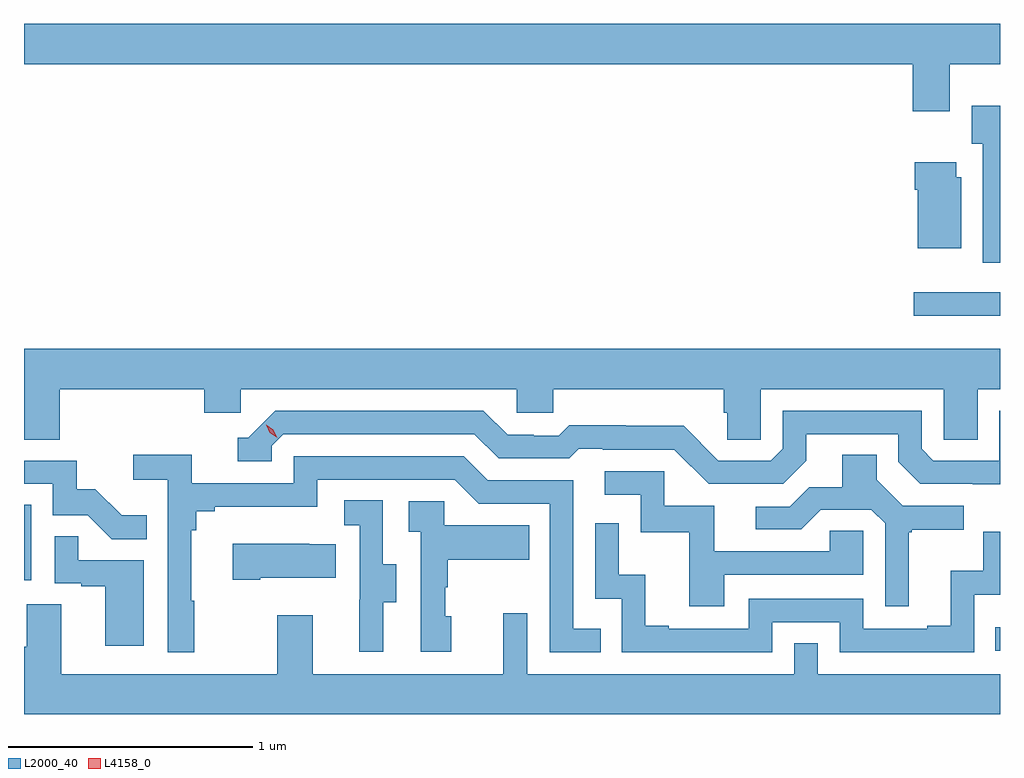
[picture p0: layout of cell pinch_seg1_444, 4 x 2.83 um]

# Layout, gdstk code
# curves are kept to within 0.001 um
import gdstk
lib = gdstk.Library(unit=1e-6, precision=1e-09)
def R(c, l, rs):  # rectangles x0, y0, x1, y1
    for r in rs: c.add(gdstk.rectangle(r[:2], r[2:], *l))
def P(c, l, *ps):  # polygons
    for p in ps: c.add(gdstk.Polygon(p, *l))
L2000_40 = (2000, 40)
L4158_0 = (4158, 0)

pinch_seg1_444 = lib.new_cell('pinch_seg1_444')
R(pinch_seg1_444, L2000_40, [(1013.701,521.355,1013.721,521.452), (1009.721,521.645,1009.75,521.953), (1013.367,522.728,1013.721,522.825)])
P(pinch_seg1_444, L2000_40, [(1013.515,523.76),(1013.721,523.76),(1013.721,523.924),(1009.721,523.924),(1009.721,523.76),(1013.363,523.76),(1013.363,523.566),(1013.515,523.566)],
  [(1013.721,523.588),(1013.606,523.588),(1013.606,523.434),(1013.651,523.434),(1013.651,522.945),(1013.721,522.945)],
  [(1013.563,523.296),(1013.542,523.296),(1013.542,523.357),(1013.372,523.357),(1013.372,523.244),(1013.384,523.244),(1013.384,523.004),(1013.563,523.004)],
  [(1009.868,522.428),(1010.459,522.428),(1010.459,522.33),(1010.61,522.33),(1010.61,522.428),(1011.741,522.428),(1011.741,522.33),(1011.891,522.33),(1011.891,522.428),(1012.589,522.428),(1012.589,522.33),(1012.603,522.33),(1012.603,522.22),(1012.74,522.22),(1012.74,522.428),(1013.49,522.428),(1013.49,522.22),(1013.629,522.22),(1013.629,522.428),(1013.721,522.428),(1013.721,522.592),(1009.721,522.592),(1009.721,522.22),(1009.868,522.22)],
  [(1013.721,522.339),(1013.718,522.339),(1013.718,522.135),(1013.448,522.135),(1013.4,522.183),(1013.4,522.339),(1012.83,522.339),(1012.83,522.183),(1012.782,522.135),(1012.566,522.135),(1012.424,522.277),(1012.188,522.277),(1012.188,522.28),(1011.955,522.28),(1011.913,522.237),(1011.81,522.237),(1011.81,522.24),(1011.703,522.24),(1011.604,522.339),(1010.751,522.339),(1010.64,522.228),(1010.597,522.228),(1010.597,522.132),(1010.736,522.132),(1010.736,522.195),(1010.784,522.243),(1011.567,522.243),(1011.666,522.144),(1011.955,522.144),(1011.994,522.183),(1012.093,522.183),(1012.093,522.18),(1012.386,522.18),(1012.527,522.039),(1012.833,522.039),(1012.927,522.133),(1012.927,522.243),(1013.304,522.243),(1013.304,522.129),(1013.394,522.039),(1013.721,522.038)],
  [(1013.347,521.841),(1013.359,521.841),(1013.359,521.852),(1013.572,521.852),(1013.572,521.949),(1013.322,521.949),(1013.215,522.056),(1013.215,522.158),(1013.075,522.158),(1013.075,522.026),(1012.94,522.026),(1012.86,521.946),(1012.719,521.946),(1012.719,521.853),(1012.906,521.853),(1012.987,521.934),(1013.193,521.934),(1013.25,521.877),(1013.25,521.538),(1013.347,521.538)],
  [(1010.419,521.561),(1010.407,521.561),(1010.407,521.849),(1010.426,521.849),(1010.426,521.926),(1010.503,521.926),(1010.503,521.945),(1010.922,521.945),(1010.922,522.057),(1011.486,522.057),(1011.585,521.958),(1011.876,521.958),(1011.876,521.349),(1012.085,521.349),(1012.085,521.445),(1011.972,521.445),(1011.972,522.054),(1011.622,522.054),(1011.523,522.153),(1010.826,522.153),(1010.826,522.042),(1010.408,522.042),(1010.408,522.158),(1010.169,522.158),(1010.169,522.056),(1010.31,522.056),(1010.31,521.349),(1010.419,521.349)],
  [(1010.225,521.911),(1010.121,521.911),(1010.014,522.018),(1009.938,522.018),(1009.938,522.135),(1009.721,522.135),(1009.721,522.039),(1009.839,522.039),(1009.839,521.91),(1009.983,521.91),(1010.081,521.812),(1010.225,521.812)],
  [(1012.591,521.667),(1013.16,521.667),(1013.16,521.847),(1013.023,521.847),(1013.023,521.763),(1012.549,521.763),(1012.549,521.949),(1012.344,521.949),(1012.344,522.09),(1012.101,522.09),(1012.101,521.994),(1012.248,521.994),(1012.248,521.841),(1012.447,521.841),(1012.447,521.538),(1012.591,521.538)],
  [(1011.193,521.554),(1011.247,521.554),(1011.247,521.709),(1011.192,521.709),(1011.192,521.972),(1011.033,521.972),(1011.033,521.869),(1011.096,521.869),(1011.096,521.565),(1011.095,521.565),(1011.095,521.352),(1011.193,521.352)],
  [(1011.472,521.496),(1011.447,521.496),(1011.447,521.615),(1011.457,521.615),(1011.457,521.729),(1011.791,521.729),(1011.791,521.869),(1011.444,521.869),(1011.444,521.967),(1011.297,521.967),(1011.297,521.843),(1011.348,521.843),(1011.348,521.352),(1011.472,521.352)],
  [(1012.788,521.472),(1013.064,521.472),(1013.064,521.349),(1013.616,521.349),(1013.616,521.585),(1013.721,521.585),(1013.721,521.844),(1013.652,521.844),(1013.652,521.683),(1013.519,521.683),(1013.519,521.458),(1013.423,521.458),(1013.423,521.445),(1013.16,521.445),(1013.16,521.568),(1012.692,521.568),(1012.692,521.445),(1012.363,521.445),(1012.363,521.458),(1012.268,521.458),(1012.268,521.666),(1012.158,521.666),(1012.158,521.878),(1012.062,521.878),(1012.062,521.568),(1012.17,521.568),(1012.17,521.349),(1012.788,521.349)],
  [(1010.212,521.727),(1009.943,521.727),(1009.943,521.825),(1009.848,521.825),(1009.848,521.631),(1009.955,521.631),(1009.955,521.619),(1010.054,521.619),(1010.054,521.376),(1010.212,521.376)],
  [(1010.689,521.654),(1010.999,521.654),(1010.999,521.791),(1010.891,521.791),(1010.891,521.794),(1010.577,521.794),(1010.577,521.647),(1010.689,521.647)],
  [(1013.721,521.26),(1012.974,521.26),(1012.974,521.387),(1012.878,521.387),(1012.878,521.26),(1011.783,521.26),(1011.783,521.509),(1011.686,521.509),(1011.686,521.26),(1010.905,521.26),(1010.905,521.5),(1010.758,521.5),(1010.758,521.26),(1009.873,521.26),(1009.873,521.546),(1009.733,521.546),(1009.733,521.372),(1009.721,521.372),(1009.721,521.096),(1013.721,521.096)])
P(pinch_seg1_444, L4158_0, [(1010.758,522.228),(1010.728,522.248),(1010.713,522.281),(1010.713,522.281),(1010.713,522.281),(1010.743,522.261),(1010.759,522.228),(1010.759,522.228)])

lib.write_gds('pinch_seg1_444.gds')
